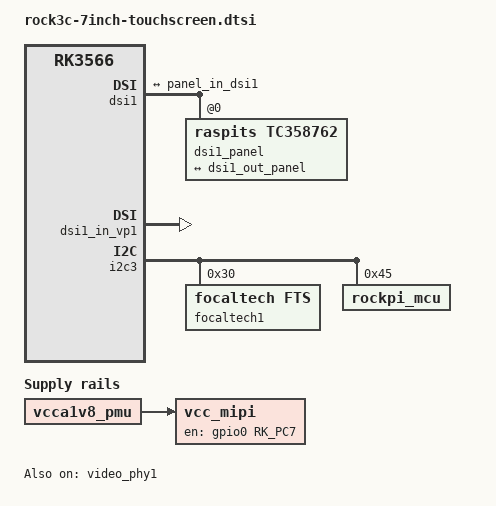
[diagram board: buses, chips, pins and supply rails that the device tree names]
// SPDX-License-Identifier: (GPL-2.0+ OR MIT)
/*
 * Copyright (c) 2021 Rockchip Electronics Co., Ltd.
 */

#include <dt-bindings/display/rockchip_vop.h>



/ {
	compatible = "radxa,rock-3c", "rockchip,rk3566";

	vcc_mipi: vcc-mipi {
		status = "okay";
		compatible = "regulator-fixed";
		regulator-name = "vcc_mipi";
		regulator-boot-on;
		regulator-always-on;
		enable-active-high;
		gpios = <&gpio0 RK_PC7 GPIO_ACTIVE_HIGH>;
		pinctrl-names = "default";
		pinctrl-0 = <&vcc_mipi_en>;
		vin-supply = <&vcca1v8_pmu>;
	};
};

&video_phy1 {
    status = "okay";
};

&dsi1 {
	status = "okay";
	#address-cells = <1>;
    #size-cells = <0>;


	dsi1_panel: dsi-panel@0 {
		compatible = "raspits,tc358762";
		reg = <0x0>;
		status = "okay";

		ports {
			#address-cells = <1>;
			#size-cells = <0>;

			port@0 {
				reg = <0>;

				panel_in_dsi1: endpoint {
					remote-endpoint = <&dsi1_out_panel>;
				};
			};
		};
	};

	ports {
		#address-cells = <1>;
		#size-cells = <0>;

		port@1 {
			reg = <1>;
			#address-cells = <1>;
			#size-cells = <0>;

			dsi1_out_panel: endpoint@0 {
				reg = <0>;
				remote-endpoint = <&panel_in_dsi1>;
			};
		};
	};
};

&dsi1_in_vp0 {
	status = "disabled";
};

&dsi1_in_vp1 {
	status = "okay";
};

// &route_dsi1 {
// 	status = "okay";
// 	connect = <&vp0_out_dsi1>;
// };

&i2c3 {
	status = "okay";
	pinctrl-0 = <&i2c3m1_xfer>;

	 focaltech1: focaltech1@30 {
               status = "okay";
               compatible = "focaltech,fts";
               reg = <0x30>;
             //  focaltech,irq-gpio = <&gpio0 RK_PB3 IRQ_TYPE_EDGE_FALLING>;
             //  focaltech,reset-gpio = <&gpio0 RK_PB4 GPIO_ACTIVE_LOW>;
               irq_mode = <0>; //0 poll ,1 irq
               x_reverse = <1>;
               y_reverse = <1>;
               xy_swap = <0>;
               focaltech,display-coords =  <0 0 800 480>;
               focaltech,max-touch-number = <10>;
     };

	rockpi_mcu: rockpi-mcu@45 {
		compatible = "rockpi_mcu";
		reg = <0x45>;
		status = "okay";
	};
};

&pinctrl {
	mipi {
		vcc_mipi_en: vcc-mipi-en {
			rockchip,pins = <0 RK_PC7 RK_FUNC_GPIO &pcfg_output_high>;
		};
	};

};
